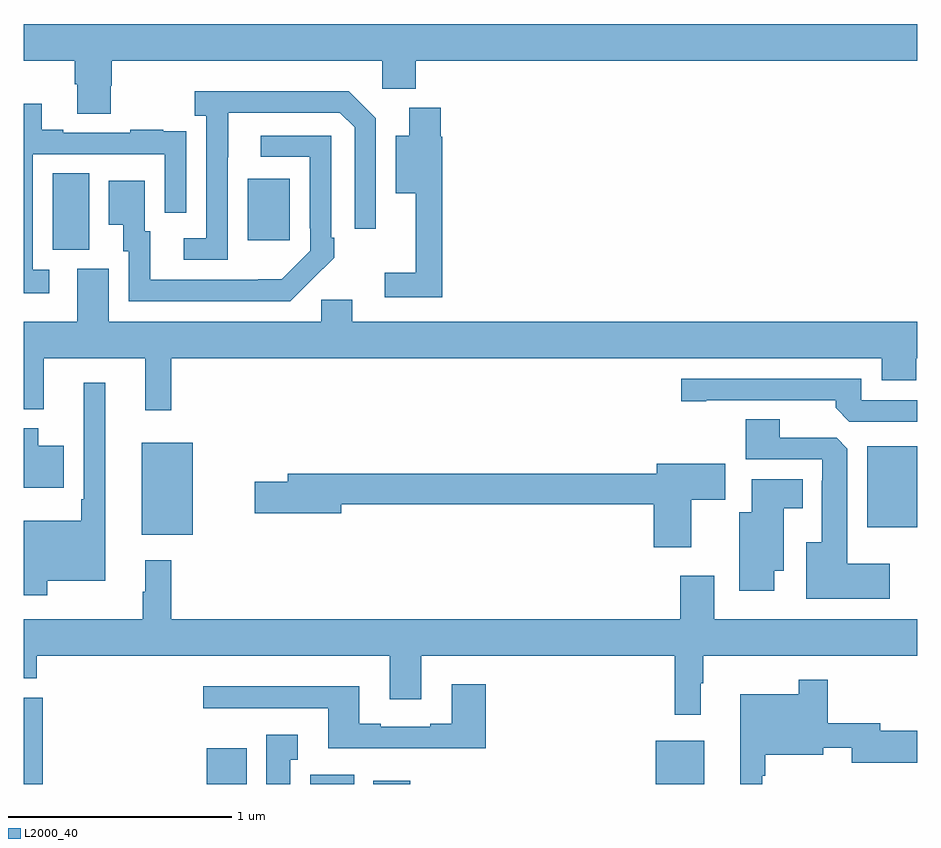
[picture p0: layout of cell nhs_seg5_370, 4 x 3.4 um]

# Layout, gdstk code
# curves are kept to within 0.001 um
import gdstk
lib = gdstk.Library(unit=1e-6, precision=1e-09)
def R(c, l, rs):  # rectangles x0, y0, x1, y1
    for r in rs: c.add(gdstk.rectangle(r[:2], r[2:], *l))
def P(c, l, *ps):  # polygons
    for p in ps: c.add(gdstk.Polygon(p, *l))
L2000_40 = (2000, 40)

nhs_seg5_370 = lib.new_cell('nhs_seg5_370')
R(nhs_seg5_370, L2000_40, [(133,910.799,133.085,911.186), (133.82,910.799,133.999,910.96), (134.282,910.799,134.479,910.84), (134.564,910.799,134.731,910.813), (135.83,910.799,136.045,910.993), (133.529,911.915,133.756,912.325), (136.775,911.948,137,912.31), (133.13,913.189,133.294,913.532), (134.003,913.233,134.191,913.507)])
P(nhs_seg5_370, L2000_40, [(133.389,913.923),(133.394,913.923),(133.394,914.036),(134.604,914.036),(134.604,913.91),(134.756,913.91),(134.756,914.036),(137,914.036),(137,914.2),(133,914.2),(133,914.036),(133.229,914.036),(133.229,913.93),(133.241,913.93),(133.241,913.798),(133.389,913.798)],
  [(133.914,913.603),(133.915,913.803),(134.415,913.803),(134.481,913.737),(134.481,913.284),(134.577,913.284),(134.577,913.779),(134.456,913.9),(133.767,913.9),(133.767,913.79),(133.818,913.79),(133.818,913.242),(133.716,913.242),(133.716,913.146),(133.914,913.146)],
  [(133.114,913.101),(133.041,913.101),(133.041,913.617),(133.632,913.617),(133.632,913.356),(133.728,913.356),(133.728,913.61),(133.727,913.61),(133.727,913.719),(133.625,913.719),(133.625,913.726),(133.477,913.726),(133.477,913.713),(133.177,913.713),(133.177,913.726),(133.081,913.726),(133.081,913.843),(133,913.843),(133,912.996),(133.114,912.996)],
  [(134.873,913.695),(134.867,913.695),(134.867,913.825),(134.726,913.825),(134.726,913.699),(134.666,913.699),(134.666,913.442),(134.756,913.442),(134.756,913.087),(134.616,913.087),(134.616,912.978),(134.873,912.978)],
  [(134.285,913.051),(134.286,913.05),(134.391,913.155),(134.391,913.243),(134.376,913.243),(134.376,913.701),(134.061,913.701),(134.061,913.605),(134.28,913.605),(134.28,913.285),(134.283,913.285),(134.283,913.185),(134.155,913.057),(133.567,913.056),(133.567,913.272),(133.543,913.272),(133.543,913.498),(133.382,913.498),(133.382,913.301),(133.445,913.301),(133.445,913.182),(133.47,913.182),(133.47,912.96),(134.194,912.96)],
  [(133.661,912.704),(136.841,912.704),(136.841,912.605),(136.994,912.605),(136.994,912.704),(137,912.704),(137,912.868),(134.47,912.868),(134.47,912.966),(134.331,912.966),(134.331,912.868),(133.381,912.868),(133.381,913.104),(133.241,913.104),(133.241,912.868),(133,912.868),(133,912.476),(133.091,912.476),(133.091,912.704),(133.544,912.704),(133.544,912.471),(133.661,912.471)],
  [(137,912.516),(136.749,912.516),(136.749,912.612),(135.942,912.612),(135.942,912.511),(136.054,912.511),(136.054,912.516),(136.634,912.516),(136.634,912.482),(136.695,912.42),(137,912.42)],
  [(133.105,911.708),(133.366,911.708),(133.366,912.595),(133.269,912.595),(133.269,912.073),(133.257,912.073),(133.257,911.977),(133,911.977),(133,911.643),(133.105,911.643)],
  [(136.876,911.785),(136.687,911.785),(136.687,912.299),(136.638,912.348),(136.384,912.348),(136.384,912.431),(136.232,912.431),(136.232,912.252),(136.575,912.252),(136.575,912.155),(136.571,912.155),(136.571,911.881),(136.502,911.881),(136.502,911.627),(136.876,911.627)],
  [(133.18,912.313),(133.066,912.313),(133.066,912.391),(133,912.391),(133,912.125),(133.18,912.125)],
  [(135.988,912.07),(136.141,912.07),(136.141,912.232),(135.833,912.232),(135.833,912.188),(134.183,912.188),(134.183,912.152),(134.034,912.152),(134.034,912.01),(134.422,912.01),(134.422,912.052),(135.821,912.052),(135.821,911.859),(135.988,911.859)],
  [(136.36,911.753),(136.402,911.753),(136.402,912.032),(136.486,912.032),(136.486,912.163),(136.259,912.163),(136.259,912.016),(136.202,912.016),(136.202,911.664),(136.36,911.664)],
  [(136.03,911.249),(136.042,911.249),(136.042,911.372),(137,911.372),(137,911.536),(136.09,911.536),(136.09,911.731),(135.938,911.731),(135.938,911.536),(133.661,911.536),(133.661,911.8),(133.544,911.8),(133.544,911.66),(133.533,911.66),(133.533,911.536),(133,911.536),(133,911.273),(133.058,911.273),(133.058,911.372),(134.639,911.372),(134.639,911.178),(134.779,911.178),(134.779,911.372),(135.913,911.372),(135.913,911.109),(136.03,911.109)],
  [(136.305,910.835),(136.318,910.835),(136.318,910.931),(136.579,910.931),(136.579,910.961),(136.706,910.961),(136.706,910.895),(137,910.895),(137,911.037),(136.834,911.037),(136.834,911.071),(136.598,911.071),(136.598,911.266),(136.47,911.266),(136.47,911.2),(136.208,911.2),(136.208,910.799),(136.305,910.799)],
  [(135.068,911.245),(134.915,911.245),(134.915,911.068),(134.819,911.068),(134.819,911.055),(134.599,911.055),(134.599,911.068),(134.503,911.068),(134.503,911.236),(133.803,911.236),(133.803,911.139),(134.363,911.139),(134.363,910.958),(135.068,910.958)],
  [(134.194,910.907),(134.227,910.907),(134.227,911.02),(134.087,911.02),(134.087,910.799),(134.194,910.799)])

lib.write_gds('nhs_seg5_370.gds')
